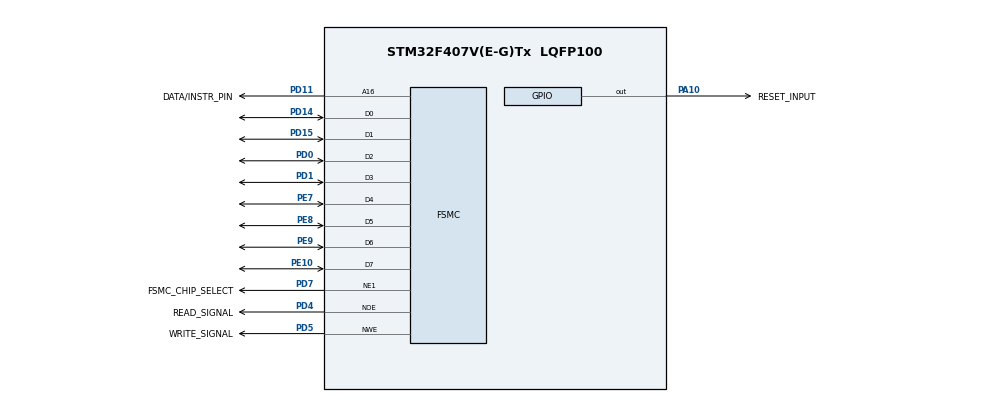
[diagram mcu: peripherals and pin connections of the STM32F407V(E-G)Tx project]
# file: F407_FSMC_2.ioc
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FSMC.AddressSetupTime1=2
FSMC.DataSetupTime1=11
Mcu.Family=STM32F4
Mcu.Name=STM32F407V(E-G)Tx
Mcu.Package=LQFP100
NVIC.PriorityGroup=NVIC_PRIORITYGROUP_4
PA10.GPIO_Label=RESET_INPUT
PA10.Signal=GPIO_Output
PA13.Mode=Serial_Wire
PA13.Signal=SYS_JTMS-SWDIO
PA14.Mode=Serial_Wire
PA14.Signal=SYS_JTCK-SWCLK
PD0.Mode=8b-d1
PD0.Signal=FSMC_D2
PD1.Mode=8b-d1
PD1.Signal=FSMC_D3
PD11.GPIO_Label=DATA/INSTR_PIN
PD11.Mode=A16_1
PD11.Signal=FSMC_A16
PD14.Mode=8b-d1
PD14.Signal=FSMC_D0
PD15.Mode=8b-d1
PD15.Signal=FSMC_D1
PD4.GPIO_Label=READ_SIGNAL
PD4.Mode=Lcd1
PD4.Signal=FSMC_NOE
PD5.GPIO_Label=WRITE_SIGNAL
PD5.Mode=Lcd1
PD5.Signal=FSMC_NWE
PD7.GPIO_Label=FSMC_CHIP_SELECT
PD7.Mode=NorPsramChipSelect1_1
PD7.Signal=FSMC_NE1
PE10.Mode=8b-d1
PE10.Signal=FSMC_D7
PE7.Mode=8b-d1
PE7.Signal=FSMC_D4
PE8.Mode=8b-d1
PE8.Signal=FSMC_D5
PE9.Mode=8b-d1
PE9.Signal=FSMC_D6
PH0-OSC_IN.Mode=HSE-External-Oscillator
PH0-OSC_IN.Signal=RCC_OSC_IN
PH1-OSC_OUT.Mode=HSE-External-Oscillator
PH1-OSC_OUT.Signal=RCC_OSC_OUT
ProjectManager.HeapSize=0x200
ProjectManager.StackSize=0x400
ProjectManager.TargetToolchain=EWARM V8.50
RCC.48MHZClocksFreq_Value=84000000
RCC.AHBFreq_Value=168000000
RCC.APB1CLKDivider=RCC_HCLK_DIV4
RCC.APB1Freq_Value=42000000
RCC.APB1TimFreq_Value=84000000
RCC.APB2CLKDivider=RCC_HCLK_DIV2
RCC.APB2Freq_Value=84000000
RCC.APB2TimFreq_Value=168000000
RCC.CortexFreq_Value=168000000
RCC.HCLKFreq_Value=168000000
RCC.HSE_VALUE=8000000
RCC.HSI_VALUE=16000000
RCC.LSE_VALUE=32768
RCC.PLLM=4
RCC.PLLN=168
RCC.PLLSourceVirtual=RCC_PLLSOURCE_HSE
RCC.SYSCLKFreq_VALUE=168000000
RCC.SYSCLKSource=RCC_SYSCLKSOURCE_PLLCLK
RCC.VCOOutputFreq_Value=336000000
VP_CRC_VS_CRC.Mode=CRC_Activate
board=custom

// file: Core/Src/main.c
/* USER CODE BEGIN Header */
/**
  ******************************************************************************
  * @file           : main.c
  * @brief          : Main program body
  ******************************************************************************
  * @attention
  *
  * Copyright (c) 2026 STMicroelectronics.
  * All rights reserved.
  *
  * This software is licensed under terms that can be found in the LICENSE file
  * in the root directory of this software component.
  * If no LICENSE file comes with this software, it is provided AS-IS.
  *
  ******************************************************************************
  */
/* USER CODE END Header */
#include "main.h"
#include "crc.h"
#include "gpio.h"
#include "fsmc.h"

/* USER CODE BEGIN Includes */

#include "u8g2.h"
#include "u8g_arm.h"
#include <stdio.h>
#include <stdlib.h>
#include "math.h"

/* USER CODE END Includes */

/* USER CODE BEGIN PTD */
/* Квадрат */
typedef struct {
    float x;    // левый верхний угол
    float y;
    float vx;   // скорость по X (px/s)
    float vy;   // скорость по Y (px/s)
    uint8_t size;
    uint8_t num;
} Sprite;
/* USER CODE END PTD */

/* USER CODE BEGIN PV */
   u8g2_t u8g2;
   static const unsigned char u8g2_logo_128x64_bits[];

 /* Параметры экрана */
#define SCREEN_W 160
#define SCREEN_H 160

/* USER CODE END PV */

void SystemClock_Config(void);

/* USER CODE BEGIN 0 */

/* Заглушка: отрисовать квадрат на дисплее в позиции (ix, iy).
   Реализуйте в своём проекте: очистка предыдущего положения и рисование нового. */
void Display_DrawSquare(int ix, int iy, int size, int num)
{
  u8g2_DrawBox(&u8g2, ix, iy, size, size);
}

/* Вспомогательная функция времени (HAL_GetTick из HAL) */
static inline uint32_t millis(void) { return HAL_GetTick(); }

/* Инициализация трёх спрайтов */
Sprite s[9];

void init_sprites(void) {
    s[0].num = 0; s[0].size = 17; s[0].x = 20.0f;  s[0].y = 30.0f;  s[0].vx = 3* 32.0f;  s[0].vy = 3* 11.0f;   //6;
    s[1].num = 1; s[1].size = 29; s[1].x = 60.0f;  s[1].y = 40.0f;  s[1].vx = 3* -24.0f; s[1].vy = 3* 18.0f;   //12;
    s[2].num = 2; s[2].size = 12; s[2].x = 100.0f; s[2].y = 80.0f;  s[2].vx = 3* 15.0f;  s[2].vy = 3* -20.0f;  //18;
    s[3].num = 3; s[3].size = 13; s[3].x = 10.0f;  s[3].y = 120.0f; s[3].vx = 3* 40.0f;  s[3].vy = 3* -10.0f;  //8;
    s[4].num = 4; s[4].size = 22; s[4].x = 130.0f; s[4].y = 20.0f;  s[4].vx = 3* -18.0f; s[4].vy = 3* 22.0f;   //10;
    s[5].num = 5; s[5].size = 14; s[5].x = 50.0f;  s[5].y = 100.0f; s[5].vx = 3* 12.0f;  s[5].vy = 3* -15.0f;  //14;
    s[6].num = 6; s[6].size = 30; s[6].x = 5.0f;   s[6].y = 5.0f;   s[6].vx = 3* 28.0f;  s[6].vy = 3* 14.0f;   //7;
    s[7].num = 7; s[7].size = 19; s[7].x = 140.0f; s[7].y = 130.0f; s[7].vx = 3* -20.0f; s[7].vy = 3* -12.0f;  //9;
    s[8].num = 8; s[8].size = 10; s[8].x = 80.0f;  s[8].y = 10.0f;  s[8].vx = 3* 10.0f;  s[8].vy = 3* 25.0f;   //11;
}

/* Проверка пересечения двух AABB */
static inline int rects_intersect(Sprite *a, Sprite *b) {
    return !( (a->x + a->size <= b->x) || (b->x + b->size <= a->x) ||
              (a->y + a->size <= b->y) || (b->y + b->size <= a->y) );
}

/* Обработка столкновения — обмен скоростей (упрощение для равных масс) */
static void handle_collision(Sprite *a, Sprite *b) {
    /* Корректировка позиции чтобы убрать перекрытие: двигаем по нормали */
    float axc = a->x + a->size * 0.5f;
    float ayc = a->y + a->size * 0.5f;
    float bxc = b->x + b->size * 0.5f;
    float byc = b->y + b->size * 0.5f;
    float nx = axc - bxc;
    float ny = ayc - byc;
    /* если центры совпали, слегка сдвинем нормаль */
    if (nx == 0.0f && ny == 0.0f) { nx = 1.0f; ny = 0.0f; }
    /* нормализуем */
    float nlen = sqrtf(nx*nx + ny*ny);
    nx /= nlen; ny /= nlen;

    /* проектируем скорости на нормаль */
    float adot = a->vx * nx + a->vy * ny;
    float bdot = b->vx * nx + b->vy * ny;

    /* обмен компонент скоростей вдоль нормали (равные массы, упругое столкновение) */
    float adot_new = bdot;
    float bdot_new = adot;

    /* изменяем скорости, оставляя касательные компоненты неизменными */
    a->vx += (adot_new - adot) * nx;
    a->vy += (adot_new - adot) * ny;
    b->vx += (bdot_new - bdot) * nx;
    b->vy += (bdot_new - bdot) * ny;

    /* Убираем перекрытие: смещаем объекты вдоль нормали поровну */
    /* вычисляем минимальное смещение вдоль x и y для выхода из перекрытия */
    float overlap_x = (a->size + b->size) * 0.5f - fabsf(axc - bxc);
    float overlap_y = (a->size + b->size) * 0.5f - fabsf(ayc - byc);
    float push = fmaxf(overlap_x, overlap_y);
    if (push > 0.0f) {
        a->x += nx * (push * 0.5f);
        a->y += ny * (push * 0.5f);
        b->x -= nx * (push * 0.5f);
        b->y -= ny * (push * 0.5f);
    }
}

/* USER CODE END 0 */

int main(void)
{

  /* MCU Configuration--------------------------------------------------------*/

  /* Reset of all peripherals, Initializes the Flash interface and the Systick. */
  HAL_Init();

  /* Configure the system clock */
  SystemClock_Config();

  /* Initialize all configured peripherals */
  MX_GPIO_Init();
  MX_FSMC_Init();
  MX_CRC_Init();
  /* USER CODE BEGIN 2 */

      u8g2_Setup_uc1611_cg160160_f(&u8g2, U8G2_R2, u8x8_byte_hw_fsmc, u8x8_gpio_and_delay_template);
      u8g2_InitDisplay(&u8g2); // send init sequence to the display, display is in sleep mode after this,
      u8g2_SetPowerSave(&u8g2, 0); // wake up display
      u8g2_ClearDisplay(&u8g2);
      u8g2_SetContrast(&u8g2, 180);

      u8g2_SetFontMode(&u8g2, 0);
      u8g2_SetFont(&u8g2, u8g2_font_logisoso18_tf);
      u8g2_SetDrawColor(&u8g2, 2);
      u8g2_SetFontMode(&u8g2, 1);

      u8g2_ClearBuffer(&u8g2);
      u8g2_DrawXBM(&u8g2, 20, 60, 128, 64, u8g2_logo_128x64_bits);
      u8g2_SendBuffer(&u8g2);

 /** Comment out the while(1) loop if you need a dynamic image with squares **/
    while(1);

#define DALAY_TIME      500

      HAL_Delay(DALAY_TIME);

      init_sprites();
      uint32_t last = millis();

    while(1)
    {
       uint32_t now = millis();
        float dt = (now - last) / 1000.0f;
        if (dt <= 0.0f) continue;
        if (dt > 0.05f) dt = 0.05f;
        last = now;

      /* Обновление позиций и отражение от стен */
for (int i = 0; i < 9; ++i) {
    s[i].x += s[i].vx * dt;
    s[i].y += s[i].vy * dt;

    if (s[i].x < 0.0f) {
        s[i].x = -s[i].x;
        s[i].vx = -s[i].vx;
    }
    if (s[i].x + s[i].size > SCREEN_W) {
        float over = s[i].x + s[i].size - SCREEN_W;
        s[i].x -= 2.0f * over;
        s[i].vx = -s[i].vx;
    }
    if (s[i].y < 0.0f) {
        s[i].y = -s[i].y;
        s[i].vy = -s[i].vy;
    }
    if (s[i].y + s[i].size > SCREEN_H) {
        float over = s[i].y + s[i].size - SCREEN_H;
        s[i].y -= 2.0f * over;
        s[i].vy = -s[i].vy;
    }
}

/* Взаимные столкновения (все пары) */
for (int a = 0; a < 9; ++a) {
    for (int b = a + 1; b < 9; ++b) {
        if (rects_intersect(&s[a], &s[b])) {
            handle_collision(&s[a], &s[b]);
        }
    }
}

/* Рендер */
//Set_window(0, 0, 160, 160);
//display_white();

u8g2_ClearBuffer(&u8g2);

for (int i = 0; i < 9; ++i) {
    int ix = (int)(s[i].x + 0.5f);
    int iy = (int)(s[i].y + 0.5f);
    Display_DrawSquare(ix, iy, s[i].size, s[i].num);
}

u8g2_DrawStr(&u8g2, 8, 25, "U8G2 UC1698U");

u8g2_SendBuffer(&u8g2);
        HAL_Delay(1);
    }

  /* USER CODE END 2 */

  /* Infinite loop */

}

void SystemClock_Config(void)
{
  LL_FLASH_SetLatency(LL_FLASH_LATENCY_5);
  while(LL_FLASH_GetLatency()!= LL_FLASH_LATENCY_5)
  {
  }
  LL_PWR_SetRegulVoltageScaling(LL_PWR_REGU_VOLTAGE_SCALE1);
  LL_RCC_HSE_Enable();

   /* Wait till HSE is ready */
  while(LL_RCC_HSE_IsReady() != 1)
  {

  }
  LL_RCC_PLL_ConfigDomain_SYS(LL_RCC_PLLSOURCE_HSE, LL_RCC_PLLM_DIV_4, 168, LL_RCC_PLLP_DIV_2);
  LL_RCC_PLL_Enable();

   /* Wait till PLL is ready */
  while(LL_RCC_PLL_IsReady() != 1)
  {

  }
  while (LL_PWR_IsActiveFlag_VOS() == 0)
  {
  }
  LL_RCC_SetAHBPrescaler(LL_RCC_SYSCLK_DIV_1);
  LL_RCC_SetAPB1Prescaler(LL_RCC_APB1_DIV_4);
  LL_RCC_SetAPB2Prescaler(LL_RCC_APB2_DIV_2);
  LL_RCC_SetSysClkSource(LL_RCC_SYS_CLKSOURCE_PLL);

   /* Wait till System clock is ready */
  while(LL_RCC_GetSysClkSource() != LL_RCC_SYS_CLKSOURCE_STATUS_PLL)
  {

  }
  LL_SetSystemCoreClock(168000000);

   /* Update the time base */
  if (HAL_InitTick (TICK_INT_PRIORITY) != HAL_OK)
  {
    Error_Handler();
  }
}

/* USER CODE BEGIN 4 */

//u8g2_logo_128x64_width 128
//u8g2_logo_128x64_height 64

static const unsigned char u8g2_logo_128x64_bits[] = {
   0x00, 0x00, 0x00, 0x00, 0x00, 0x00, 0x00, 0x00, 0x00, 0x00, 0x00, 0x00,
   0x00, 0x00, 0x00, 0x00, 0x00, 0x00, 0x00, 0x00, 0x00, 0x00, 0x00, 0x00,
   0x00, 0x00, 0x00, 0x00, 0x00, 0x00, 0x00, 0x00, 0x00, 0x00, 0x00, 0x00,
   0x00, 0x00, 0x00, 0x00, 0x00, 0x00, 0x00, 0x00, 0x00, 0x00, 0x00, 0x00,
   0x00, 0x00, 0x00, 0x00, 0x00, 0x00, 0x00, 0x00, 0x00, 0x00, 0x00, 0x00,
   0x00, 0x00, 0x00, 0x00, 0x00, 0x00, 0x00, 0x00, 0x00, 0x00, 0x00, 0x00,
   0x00, 0x00, 0x00, 0x00, 0x00, 0x00, 0x00, 0x00, 0x00, 0x00, 0x00, 0x00,
   0x00, 0x00, 0x00, 0x00, 0x00, 0x00, 0x00, 0x00, 0x00, 0x00, 0x00, 0x00,
   0x3c, 0x80, 0x07, 0x00, 0x00, 0x00, 0x00, 0x00, 0x00, 0xf8, 0x00, 0x00,
   0x00, 0x00, 0x00, 0x00, 0x3c, 0x80, 0x07, 0x00, 0x00, 0x00, 0x00, 0x00,
   0x00, 0xfe, 0x03, 0x00, 0x00, 0x00, 0x00, 0x00, 0x3c, 0x80, 0x07, 0x00,
   0x00, 0x00, 0x00, 0x00, 0x00, 0xff, 0x03, 0x00, 0x00, 0x00, 0x00, 0x00,
   0x3c, 0x80, 0x07, 0x00, 0x00, 0x00, 0x00, 0x00, 0x80, 0xcf, 0x07, 0x00,
   0x00, 0x00, 0x00, 0x00, 0x3c, 0x80, 0x07, 0x00, 0x00, 0x00, 0x00, 0x00,
   0x80, 0x83, 0x07, 0x00, 0x00, 0x00, 0x00, 0x00, 0x3c, 0x80, 0x07, 0xf8,
   0x00, 0x00, 0x00, 0x00, 0x00, 0x81, 0x07, 0x00, 0x00, 0x00, 0x00, 0x00,
   0x3c, 0x80, 0x07, 0xfc, 0x03, 0x1c, 0x00, 0x3e, 0x1c, 0xc0, 0x03, 0x00,
   0x00, 0x00, 0x00, 0x00, 0x3c, 0x80, 0x07, 0xff, 0x07, 0x7f, 0x80, 0xff,
   0x3f, 0xe0, 0x01, 0x00, 0x00, 0x00, 0x00, 0x00, 0x3c, 0x80, 0x07, 0xff,
   0x8f, 0xff, 0xc1, 0xff, 0x3f, 0xf0, 0x00, 0x00, 0x00, 0x00, 0x00, 0x00,
   0x3c, 0x80, 0x87, 0xff, 0xdf, 0xff, 0xc1, 0xc3, 0x07, 0x7c, 0x00, 0x00,
   0x00, 0x00, 0x00, 0x00, 0x3c, 0x80, 0x87, 0x0f, 0xfe, 0xff, 0xe3, 0x81,
   0x03, 0x1e, 0x00, 0x00, 0x00, 0x00, 0x00, 0x00, 0x3c, 0x80, 0xc7, 0x07,
   0xfc, 0xe3, 0xe3, 0x81, 0x07, 0x0f, 0x00, 0x00, 0x00, 0x00, 0x00, 0x00,
   0x3c, 0x80, 0xc7, 0x07, 0xf8, 0xc1, 0xe7, 0x81, 0x87, 0xff, 0x07, 0x00,
   0x00, 0x00, 0x00, 0x00, 0x3c, 0x80, 0xc7, 0x03, 0xf0, 0x80, 0xe7, 0xc3,
   0x87, 0xff, 0x07, 0x00, 0x00, 0x00, 0x00, 0x00, 0x3c, 0x80, 0xc7, 0x03,
   0x70, 0x80, 0xc7, 0xe7, 0x83, 0xff, 0x07, 0x00, 0x00, 0x00, 0x00, 0x00,
   0x3c, 0x80, 0xc7, 0x03, 0x78, 0x80, 0xc7, 0xff, 0x03, 0x00, 0x00, 0x00,
   0x00, 0x00, 0x00, 0x00, 0x3c, 0x80, 0xc7, 0x03, 0xf8, 0xc0, 0x87, 0xff,
   0x01, 0x00, 0x00, 0x00, 0x00, 0x00, 0x00, 0x00, 0x3c, 0x80, 0xc7, 0x07,
   0xfc, 0xc1, 0xc7, 0x7f, 0x00, 0x00, 0x00, 0x00, 0x00, 0x00, 0x00, 0x00,
   0x3c, 0xc0, 0x87, 0x0f, 0xfe, 0xff, 0xe3, 0x01, 0x00, 0x00, 0x00, 0x00,
   0x00, 0x00, 0x00, 0x00, 0x78, 0xc0, 0x83, 0xff, 0xdf, 0xff, 0xe3, 0x03,
   0x00, 0x00, 0x00, 0x00, 0x00, 0x00, 0x00, 0x00, 0xf8, 0xf1, 0x03, 0xff,
   0x8f, 0xff, 0xe1, 0xff, 0x07, 0x00, 0x00, 0x00, 0x00, 0x00, 0x00, 0x00,
   0xf0, 0xff, 0x01, 0xfe, 0x0f, 0xff, 0xc0, 0xff, 0x0f, 0x00, 0x00, 0x00,
   0x00, 0x00, 0x00, 0x00, 0xe0, 0xff, 0x00, 0xfc, 0x03, 0x7c, 0xc0, 0xff,
   0x1f, 0x00, 0x00, 0x00, 0x00, 0x00, 0x00, 0x00, 0x80, 0x3f, 0x00, 0xf8,
   0x01, 0x00, 0xe0, 0x01, 0x1e, 0x00, 0x00, 0x00, 0x00, 0x00, 0x00, 0x00,
   0x00, 0x00, 0x00, 0x00, 0x00, 0x00, 0xf0, 0x00, 0x1e, 0x00, 0x00, 0x00,
   0x00, 0x00, 0x00, 0x00, 0x00, 0x00, 0x00, 0x00, 0x00, 0x00, 0xf0, 0x00,
   0x1e, 0x00, 0x00, 0x00, 0x00, 0x00, 0x00, 0x00, 0x00, 0x00, 0x00, 0x00,
   0x00, 0x20, 0xf0, 0xc7, 0x0f, 0x00, 0x00, 0x00, 0x00, 0x00, 0x00, 0x00,
   0x00, 0x00, 0x00, 0x00, 0x00, 0x60, 0xe0, 0xff, 0x0f, 0x00, 0x00, 0x00,
   0x00, 0x00, 0x00, 0x00, 0x00, 0x00, 0x00, 0x00, 0x00, 0x60, 0xc0, 0xff,
   0x03, 0x00, 0x00, 0x00, 0x00, 0x00, 0x00, 0x00, 0xfc, 0xff, 0xff, 0xff,
   0xff, 0xff, 0x01, 0xff, 0x00, 0x00, 0x00, 0x00, 0x00, 0x00, 0x00, 0x00,
   0xf8, 0xff, 0xff, 0xff, 0xff, 0xff, 0x03, 0x00, 0x00, 0x00, 0x00, 0x00,
   0x00, 0x00, 0x00, 0x00, 0x00, 0x00, 0x00, 0x00, 0x00, 0x60, 0x00, 0x00,
   0x00, 0x00, 0x00, 0x00, 0x00, 0x00, 0x00, 0x00, 0x00, 0x00, 0x00, 0x00,
   0x00, 0x60, 0x00, 0x00, 0x00, 0x00, 0x00, 0x00, 0x00, 0x00, 0x00, 0x00,
   0x00, 0x00, 0x00, 0x00, 0x00, 0x60, 0x00, 0x00, 0x00, 0x00, 0x00, 0x00,
   0x00, 0x00, 0x00, 0x00, 0x00, 0x00, 0x00, 0x00, 0x00, 0x60, 0x00, 0x00,
   0x00, 0x00, 0x00, 0x00, 0x00, 0x00, 0x00, 0x00, 0x00, 0x00, 0x00, 0x00,
   0x00, 0x60, 0x00, 0x00, 0x00, 0x00, 0x00, 0x00, 0x00, 0x00, 0x00, 0x00,
   0x00, 0x00, 0x00, 0x00, 0x00, 0x60, 0x00, 0x00, 0x00, 0x00, 0x00, 0x00,
   0x00, 0x00, 0x00, 0x00, 0x00, 0x00, 0x00, 0x00, 0x00, 0x60, 0x00, 0x00,
   0x00, 0x00, 0x00, 0x00, 0x00, 0x00, 0x00, 0x00, 0x00, 0x00, 0x00, 0x00,
   0x00, 0x40, 0x00, 0x00, 0x00, 0x00, 0x00, 0x00, 0x00, 0x00, 0x00, 0x00,
   0x00, 0x00, 0x00, 0x00, 0x00, 0x00, 0x00, 0x00, 0x00, 0x00, 0x00, 0x00,
   0x00, 0x00, 0x00, 0x00, 0x00, 0x00, 0x00, 0x00, 0x00, 0x00, 0x00, 0x00,
   0x00, 0x00, 0x00, 0x00, 0x00, 0x00, 0x00, 0x00, 0x00, 0x00, 0x00, 0x00,
   0x00, 0x00, 0x00, 0x00, 0x00, 0x00, 0x00, 0x00, 0x00, 0x00, 0x00, 0x00,
   0x00, 0x00, 0x00, 0x00, 0x00, 0x00, 0x00, 0x00, 0x00, 0x00, 0x00, 0x00,
   0x00, 0x00, 0x00, 0x00, 0x40, 0x24, 0x20, 0x00, 0x00, 0x08, 0x46, 0x02,
   0x00, 0x80, 0xc0, 0x40, 0x00, 0x00, 0x00, 0x00, 0x0c, 0x6e, 0x6a, 0xc0,
   0xa4, 0x48, 0x04, 0xaa, 0xac, 0x8c, 0xaa, 0xac, 0x00, 0x00, 0x00, 0x00,
   0x6a, 0xa4, 0xaa, 0x20, 0xea, 0xa4, 0x64, 0x66, 0xaa, 0x46, 0x4a, 0x8a,
   0x00, 0x00, 0x00, 0x00, 0x4c, 0xa4, 0xaa, 0x20, 0xaa, 0xa2, 0x44, 0x2a,
   0xaa, 0x28, 0xaa, 0x4c, 0x00, 0x00, 0x00, 0x00, 0xe8, 0xa8, 0x6c, 0xc4,
   0xa4, 0x42, 0xee, 0x2a, 0xcc, 0x26, 0x6c, 0xe8, 0x00, 0x00, 0x00, 0x00,
   0x06, 0x00, 0x00, 0x00, 0x00, 0x00, 0x00, 0x00, 0x00, 0x00, 0x00, 0x06,
   0x00, 0x00, 0x00, 0x00, 0x00, 0x00, 0x00, 0x00, 0x00, 0x00, 0x00, 0x00,
   0x00, 0x00, 0x00, 0x00, 0x00, 0x00, 0x00, 0x00, 0x00, 0x00, 0x00, 0x00,
   0x00, 0x00, 0x00, 0x00, 0x00, 0x00, 0x00, 0x00, 0x00, 0x00, 0x00, 0x00,
   0x00, 0x00, 0x00, 0x00, 0x00, 0x00, 0x00, 0x00, 0x00, 0x00, 0x00, 0x00,
   0x00, 0x00, 0x00, 0x00, 0x00, 0x00, 0x00, 0x00, 0x00, 0x00, 0x00, 0x00,
   0x00, 0x00, 0x00, 0x00, 0x00, 0x00, 0x00, 0x00, 0x00, 0x00, 0x00, 0x00,
   0x00, 0x00, 0x00, 0x00, 0x00, 0x00, 0x00, 0x00, 0x00, 0x00, 0x00, 0x00,
   0x00, 0x00, 0x00, 0x00, 0x00, 0x00, 0x00, 0x00, 0x00, 0x00, 0x00, 0x00,
   0x00, 0x00, 0x00, 0x00, 0x00, 0x00, 0x00, 0x00, 0x00, 0x00, 0x00, 0x00,
   0x00, 0x00, 0x00, 0x00, 0x00, 0x00, 0x00, 0x00, 0x00, 0x00, 0x00, 0x00,
   0x00, 0x00, 0x00, 0x00, 0x00, 0x00, 0x00, 0x00, 0x00, 0x00, 0x00, 0x00,
   0x00, 0x00, 0x00, 0x00, 0x00, 0x00, 0x00, 0x00, 0x00, 0x00, 0x00, 0x00,
   0x00, 0x00, 0x00, 0x00 };

/* USER CODE END 4 */

void Error_Handler(void)
{
  __disable_irq();
  while (1)
  {
  }
}
